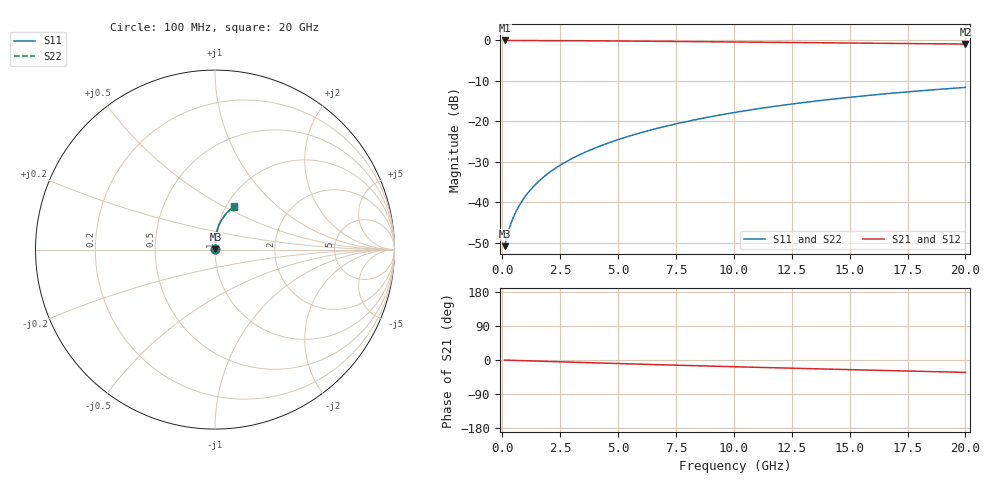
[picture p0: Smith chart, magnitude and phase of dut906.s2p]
! Touchstone file exported from HFSS 2024.1.0
!  File:  C:/UserFiles/LocalFiles/RDL_TSV_Batchsim/temp_RDL_bottom_906_1779940249.aedt
!  Generated:  11:53:24 AM May 28, 2026
!  Design:  RDL_bottom
!  Project:  temp_RDL_bottom_906_1779940249
!  Setup:  Setup1
!  Solution:  Sweep
! Variables:
!  dtsv = 10.80580581um
!  hbump = 3um
!  htsv = 96.03um
!  ldown = 499.93um
!  lrdl = 100um
!  p = 40
!  p1 = 40.69um
!  rhole = 1um
!  t = 450um
!  tdown = 3.34um
!  trdl = 3.915915916um
!  wdown = 22.86um
!  wrdl = 20um
# GHz S MA R 50.000000
! Terminal data exported
! Port[1] = RDL1_T1
! Port[2] = RDL1_T2
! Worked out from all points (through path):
!   200 points, 100 MHz to 20 GHz, reference 50 ohm
!   highest |S21| = -0.02 dB at 100 MHz (marker M1); lowest = -0.9 dB at 20 GHz (marker M2)
!   group delay of S21, straight-line fit = 4.5 ps
!   lowest |S11| = -50.8 dB at 100 MHz (marker M3), VSWR 1.01, Z = 50.3 + j0.135 ohm
!   |S11| at or under -10 dB: start of sweep to end of sweep
!   |S22| runs from -50.8 to -11.6 dB; largest |S21 - S12| = 3.4e-15
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0.1  0.002886 27.8  0.9974 -0.2  0.9974 -0.2  0.002886 27.8
! Gamma 0 0 0 0
! Port Impedance 50 0 50 0
0.2  0.003757 44.2  0.9973 -0.4  0.9973 -0.4  0.003757 44.2
0.3  0.00475 53.2  0.9971 -0.6  0.9971 -0.6  0.00475 53.2
0.4  0.005757 58.9  0.9969 -0.8  0.9969 -0.8  0.005758 58.9
0.5  0.006767 63.1  0.9967 -1.0  0.9967 -1.0  0.006768 63.1
0.6  0.007784 66.3  0.9966 -1.2  0.9966 -1.2  0.007785 66.3
0.8  0.009852 71.0  0.9963 -1.6  0.9963 -1.6  0.009852 71.0
1  0.01197 74.3  0.996 -1.9  0.996 -1.9  0.01197 74.3
1.2  0.01412 76.7  0.9957 -2.3  0.9957 -2.3  0.01412 76.7
1.7  0.01965 80.5  0.9948 -3.3  0.9948 -3.3  0.01965 80.5
2.2  0.02533 82.7  0.9936 -4.2  0.9936 -4.2  0.02532 82.7
2.8  0.03232 84.3  0.9918 -5.4  0.9918 -5.4  0.03232 84.3
3.5  0.04072 85.4  0.9893 -6.7  0.9893 -6.7  0.04071 85.3
4.2  0.04938 85.9  0.9864 -7.9  0.9864 -7.9  0.04937 85.9
5  0.05959 86.1  0.9827 -9.4  0.9827 -9.4  0.05957 86.0
6.8  0.08361 85.3  0.9734 -12.5  0.9734 -12.5  0.08356 85.2
8.4  0.1058 83.7  0.9646 -15.2  0.9646 -15.2  0.1058 83.7
10.1  0.1299 81.5  0.9549 -17.9  0.9549 -17.9  0.1298 81.5
11.7  0.1525 79.2  0.9459 -20.5  0.9459 -20.5  0.1524 79.1
13.4  0.1764 76.6  0.9364 -23.1  0.9364 -23.1  0.1762 76.5
16.7  0.221 71.3  0.9182 -28.0  0.9182 -28.0  0.2208 71.2
20  0.2628 66.1  0.9002 -32.7  0.9002 -32.7  0.2625 66.0
